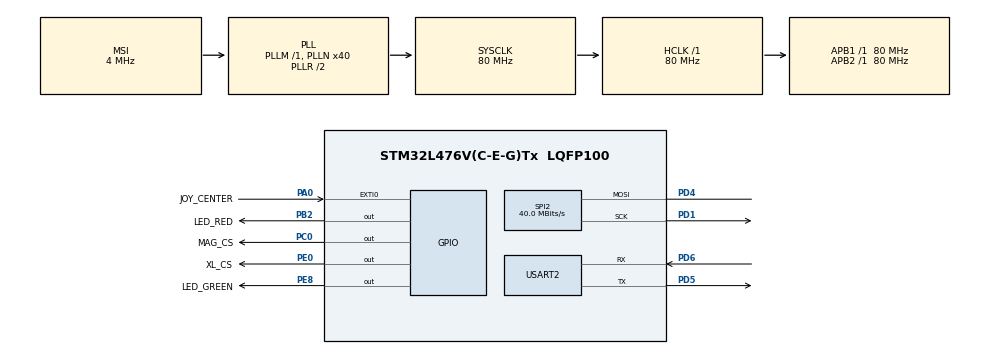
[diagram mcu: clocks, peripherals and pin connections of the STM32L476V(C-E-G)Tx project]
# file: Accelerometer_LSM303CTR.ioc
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Dma.Request0=USART2_RX
Dma.Request1=USART2_TX
Dma.USART2_RX.0.Direction=DMA_PERIPH_TO_MEMORY
Dma.USART2_RX.0.Instance=DMA1_Channel6
Dma.USART2_RX.0.MemDataAlignment=DMA_MDATAALIGN_BYTE
Dma.USART2_RX.0.MemInc=DMA_MINC_ENABLE
Dma.USART2_RX.0.Mode=DMA_NORMAL
Dma.USART2_RX.0.PeriphDataAlignment=DMA_PDATAALIGN_BYTE
Dma.USART2_RX.0.PeriphInc=DMA_PINC_DISABLE
Dma.USART2_RX.0.Priority=DMA_PRIORITY_LOW
Dma.USART2_TX.1.Direction=DMA_MEMORY_TO_PERIPH
Dma.USART2_TX.1.Instance=DMA1_Channel7
Dma.USART2_TX.1.MemDataAlignment=DMA_MDATAALIGN_BYTE
Dma.USART2_TX.1.MemInc=DMA_MINC_ENABLE
Dma.USART2_TX.1.Mode=DMA_NORMAL
Dma.USART2_TX.1.PeriphDataAlignment=DMA_PDATAALIGN_BYTE
Dma.USART2_TX.1.PeriphInc=DMA_PINC_DISABLE
Dma.USART2_TX.1.Priority=DMA_PRIORITY_LOW
Mcu.Family=STM32L4
Mcu.Name=STM32L476V(C-E-G)Tx
Mcu.Package=LQFP100
NVIC.DMA1_Channel6_IRQn=true\:0\:0\:false\:false\:true\:false\:true
NVIC.DMA1_Channel7_IRQn=true\:0\:0\:false\:false\:true\:false\:true
NVIC.EXTI0_IRQn=true\:0\:0\:false\:false\:true\:true\:true
NVIC.PriorityGroup=NVIC_PRIORITYGROUP_4
NVIC.SPI2_IRQn=true\:0\:0\:false\:false\:true\:true\:true
NVIC.USART2_IRQn=true\:0\:0\:false\:false\:true\:true\:true
PA0.GPIO_Label=JOY_CENTER
PA0.GPIO_PuPd=GPIO_PULLUP
PA0.Signal=GPXTI0
PB2.GPIO_Label=LED_RED
PB2.Signal=GPIO_Output
PC0.GPIO_Label=MAG_CS
PC0.Signal=GPIO_Output
PD1.Mode=Simplex_Bidirectional_Master
PD1.Signal=SPI2_SCK
PD4.Mode=Simplex_Bidirectional_Master
PD4.Signal=SPI2_MOSI
PD5.Mode=Asynchronous
PD5.Signal=USART2_TX
PD6.Mode=Asynchronous
PD6.Signal=USART2_RX
PE0.GPIO_Label=XL_CS
PE0.Signal=GPIO_Output
PE8.GPIO_Label=LED_GREEN
PE8.Signal=GPIO_Output
ProjectManager.HeapSize=0x200
ProjectManager.StackSize=0x400
ProjectManager.TargetToolchain=SW4STM32
RCC.AHBFreq_Value=80000000
RCC.APB1Freq_Value=80000000
RCC.APB1TimFreq_Value=80000000
RCC.APB2Freq_Value=80000000
RCC.APB2TimFreq_Value=80000000
RCC.CortexFreq_Value=80000000
RCC.HCLKFreq_Value=80000000
RCC.HSE_VALUE=8000000
RCC.HSI_VALUE=16000000
RCC.LSE_VALUE=32768
RCC.MSI_VALUE=4000000
RCC.PLLN=40
RCC.SYSCLKFreq_VALUE=80000000
RCC.SYSCLKSource=RCC_SYSCLKSOURCE_PLLCLK
RCC.VCOOutputFreq_Value=160000000
SPI2.CalculateBaudRate=40.0 MBits/s
SPI2.DataSize=SPI_DATASIZE_8BIT
SPI2.Direction=SPI_DIRECTION_1LINE
SPI2.Mode=SPI_MODE_MASTER
SPI2.VirtualType=VM_MASTER
USART2.VirtualMode-Asynchronous=VM_ASYNC
board=custom

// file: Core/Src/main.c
/* USER CODE BEGIN Header */
/**
  ******************************************************************************
  * @file           : main.c
  * @brief          : Main program body
  ******************************************************************************
  * @attention
  *
  * <h2><center>&copy; Copyright (c) 2021 STMicroelectronics.
  * All rights reserved.</center></h2>
  *
  * This software component is licensed by ST under BSD 3-Clause license,
  * the "License"; You may not use this file except in compliance with the
  * License. You may obtain a copy of the License at:
  *                        opensource.org/licenses/BSD-3-Clause
  *
  ******************************************************************************
  */
/* USER CODE END Header */
#include "main.h"
#include "dma.h"
#include "spi.h"
#include "usart.h"
#include "gpio.h"

/* USER CODE BEGIN Includes */
#include "lsm303ctr_add.h"
#include "uart_add.h"
#include <stdlib.h>
/* USER CODE END Includes */

/* USER CODE BEGIN PD */
#define UART_BufforSize 50
/* USER CODE END PD */

/* USER CODE BEGIN PV */
char UART_RxBuffer[UART_BufforSize];
/* USER CODE END PV */

void SystemClock_Config(void);
/* USER CODE BEGIN PFP */
extern void waiterForEOFTx(void)
{
	/* waiting for the end of previous data transfer */
	while (flag_UART_DMA_TxCompleted == 0) {;}
	flag_UART_DMA_TxCompleted = 0;
	HAL_GPIO_WritePin(LED_RED_GPIO_Port, LED_RED_Pin, GPIO_PIN_RESET);
}

void HAL_UART_TxCpltCallback(UART_HandleTypeDef *huart)
{
	flag_UART_DMA_TxCompleted = 1;
	HAL_GPIO_WritePin(LED_RED_GPIO_Port, LED_RED_Pin, GPIO_PIN_SET);
}

void HAL_UART_RxCpltCallback(UART_HandleTypeDef *huart)
{
	uint32_t instruction;
	instruction = atoi(UART_RxBuffer);
	transfer_data((uint8_t *) UART_RxBuffer, UART_BufforSize);
	lsm303ctr_sendAccel(instruction, acceleration_mg);
	HAL_GPIO_WritePin(LED_GREEN_GPIO_Port, LED_GREEN_Pin, GPIO_PIN_SET);
}

/* USER CODE END PFP */

int main(void)
{

  /* MCU Configuration--------------------------------------------------------*/

  /* Reset of all peripherals, Initializes the Flash interface and the Systick. */
  HAL_Init();

  /* Configure the system clock */
  SystemClock_Config();

  /* Initialize all configured peripherals */
  MX_GPIO_Init();
  MX_DMA_Init();
  MX_SPI2_Init();
  MX_USART2_UART_Init();
  /* USER CODE BEGIN 2 */
flag_UART_DMA_TxCompleted = 1;
HAL_UART_Receive_DMA(&huart2, (uint8_t *) UART_RxBuffer , UART_BufforSize);
lsm303ctr_init();
  /* USER CODE END 2 */

  /* Infinite loop */
  /* USER CODE BEGIN WHILE */
  while (1)
  {
	  HAL_Delay(30);
lsm303ctr_AccelerationRead();

  /* USER CODE END WHILE */

  }
}

void SystemClock_Config(void)
{
  RCC_OscInitTypeDef RCC_OscInitStruct = {0};
  RCC_ClkInitTypeDef RCC_ClkInitStruct = {0};
  RCC_PeriphCLKInitTypeDef PeriphClkInit = {0};

  /** Initializes the RCC Oscillators according to the specified parameters
  * in the RCC_OscInitTypeDef structure.
  */
  RCC_OscInitStruct.OscillatorType = RCC_OSCILLATORTYPE_MSI;
  RCC_OscInitStruct.MSIState = RCC_MSI_ON;
  RCC_OscInitStruct.MSICalibrationValue = 0;
  RCC_OscInitStruct.MSIClockRange = RCC_MSIRANGE_6;
  RCC_OscInitStruct.PLL.PLLState = RCC_PLL_ON;
  RCC_OscInitStruct.PLL.PLLSource = RCC_PLLSOURCE_MSI;
  RCC_OscInitStruct.PLL.PLLM = 1;
  RCC_OscInitStruct.PLL.PLLN = 40;
  RCC_OscInitStruct.PLL.PLLP = RCC_PLLP_DIV7;
  RCC_OscInitStruct.PLL.PLLQ = RCC_PLLQ_DIV2;
  RCC_OscInitStruct.PLL.PLLR = RCC_PLLR_DIV2;
  if (HAL_RCC_OscConfig(&RCC_OscInitStruct) != HAL_OK)
  {
    Error_Handler();
  }
  /** Initializes the CPU, AHB and APB buses clocks
  */
  RCC_ClkInitStruct.ClockType = RCC_CLOCKTYPE_HCLK|RCC_CLOCKTYPE_SYSCLK
                              |RCC_CLOCKTYPE_PCLK1|RCC_CLOCKTYPE_PCLK2;
  RCC_ClkInitStruct.SYSCLKSource = RCC_SYSCLKSOURCE_PLLCLK;
  RCC_ClkInitStruct.AHBCLKDivider = RCC_SYSCLK_DIV1;
  RCC_ClkInitStruct.APB1CLKDivider = RCC_HCLK_DIV1;
  RCC_ClkInitStruct.APB2CLKDivider = RCC_HCLK_DIV1;

  if (HAL_RCC_ClockConfig(&RCC_ClkInitStruct, FLASH_LATENCY_4) != HAL_OK)
  {
    Error_Handler();
  }
  PeriphClkInit.PeriphClockSelection = RCC_PERIPHCLK_USART2;
  PeriphClkInit.Usart2ClockSelection = RCC_USART2CLKSOURCE_PCLK1;
  if (HAL_RCCEx_PeriphCLKConfig(&PeriphClkInit) != HAL_OK)
  {
    Error_Handler();
  }
  /** Configure the main internal regulator output voltage
  */
  if (HAL_PWREx_ControlVoltageScaling(PWR_REGULATOR_VOLTAGE_SCALE1) != HAL_OK)
  {
    Error_Handler();
  }
}

void Error_Handler(void)
{
  __disable_irq();
  while (1)
  {
  }
}

/************************ (C) COPYRIGHT STMicroelectronics *****END OF FILE****/
